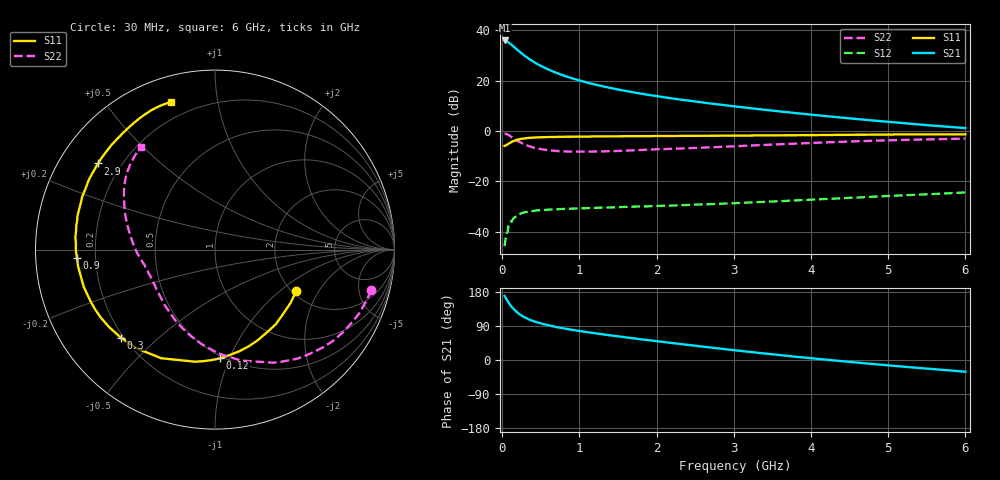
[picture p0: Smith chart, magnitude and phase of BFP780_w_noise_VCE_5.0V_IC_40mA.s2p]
! Infineon Technologies  Discrete & RF Semiconductors
! BFP780
! VCE =  5.0 V,  IC =  40 mA
! Common Emitter S-Parameters:  Jul 2015
# GHz  S  MA  R  50
!  f  S11  S21  S12  S22
! GHz  MAG  ANG  MAG  ANG  MAG  ANG  MAG  ANG
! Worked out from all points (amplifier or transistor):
!   75 points, 30 MHz to 6 GHz, reference 50 ohm
!   highest |S21| = 35.9 dB at 30 MHz (marker M1)
!   |S21| within 3 dB of that: start of sweep to 167.8 MHz
!   unconditionally stable (mu >= 1): 2.033 GHz to end of sweep
!   at 150 MHz: K = 0.18, MSG = 34.0 dB, |S12| = -34.6 dB
!   at 2.3 GHz: K = 1.09, MAG = 19.1 dB, |S12| = -29.4 dB
!   at 6 GHz: K = 1.21, MAG = 10.0 dB, |S12| = -24.4 dB
!   lowest NFmin = 1.24 dB at 450 MHz
!   S11 on the Smith chart (normalised r, x): 30 MHz: 2.11, -1.30; 120 MHz: 0.48, -0.92; 300 MHz: 0.19, -0.38; 900 MHz: 0.13, -0.03; 2.9 GHz: 0.12, +0.32; 6 GHz: 0.12, +0.74
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0.03  0.5078 -26.9  62.54 169.0  0.0052 57.1  0.9001 -14.6
0.05  0.5216 -42.9  60.78 161.7  0.0082 67.9  0.8786 -23.9
0.08  0.5587 -64.9  57.12 151.9  0.013 57.1  0.8328 -37.3
0.1  0.5829 -76.8  54.18 146.1  0.0149 54.6  0.7962 -45.3
0.12  0.6067 -87.3  51.18 140.7  0.0158 46.4  0.762 -52.8
0.15  0.6347 -100.3  46.75 133.8  0.0187 45.4  0.7087 -62.8
0.2  0.6756 -116.4  40.1 124.5  0.0215 38.6  0.6344 -76.9
0.25  0.701 -128.2  34.71 117.2  0.0235 33.1  0.5774 -88.4
0.3  0.7184 -137.0  30.27 111.5  0.0246 30.0  0.5318 -98.1
0.35  0.7314 -144.0  26.73 106.7  0.0254 27.4  0.4975 -106.2
0.4  0.741 -149.5  23.87 102.8  0.026 24.4  0.4722 -113.1
0.5  0.7512 -157.9  19.56 96.5  0.027 22.4  0.4365 -124.0
0.7  0.7626 -169.1  14.24 87.0  0.028 19.0  0.4013 -139.5
0.9  0.7707 -176.7  11.15 79.8  0.0288 18.0  0.3895 -149.8
1.1  0.7759 177.4  9.118 73.5  0.0295 17.3  0.389 -157.5
1.5  0.7848 168.2  6.658 62.5  0.0309 18.1  0.4025 -167.9
2.1  0.7965 156.9  4.662 47.2  0.033 19.4  0.4376 -178.6
2.9  0.8092 143.6  3.228 28.2  0.0365 21.2  0.4901 167.9
3.1  0.813 140.5  2.972 23.7  0.0376 21.6  0.5056 164.6
4.1  0.8311 126.2  2.041 2.7  0.0443 22.1  0.5873 149.8
5.1  0.8536 114.8  1.477 -15.9  0.0522 19.4  0.6596 136.9
6  0.8587 106.5  1.142 -30.9  0.0605 15.0  0.7064 125.6
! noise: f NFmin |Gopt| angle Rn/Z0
0.45  1.24  0.39  -178  0.07
0.9  1.28  0.4  -174  0.08
1.5  1.35  0.43  -169  0.07
1.8  1.52  0.45  -159  0.08
2.4  1.67  0.47  -152  0.11
3  1.94  0.49  -149  0.15
3.5  2.45  0.56  -132  0.24
